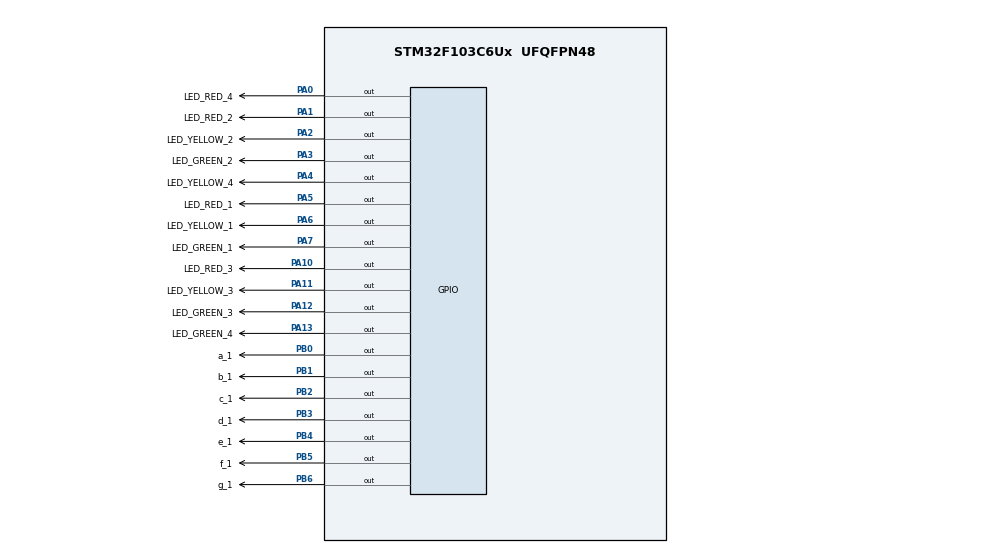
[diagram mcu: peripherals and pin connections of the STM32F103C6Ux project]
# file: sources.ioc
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Mcu.Family=STM32F1
Mcu.Name=STM32F103C6Ux
Mcu.Package=UFQFPN48
NVIC.PriorityGroup=NVIC_PRIORITYGROUP_4
PA0-WKUP.GPIO_Label=LED_RED_4
PA0-WKUP.Signal=GPIO_Output
PA1.GPIO_Label=LED_RED_2
PA1.Signal=GPIO_Output
PA10.GPIO_Label=LED_RED_3
PA10.Signal=GPIO_Output
PA11.GPIO_Label=LED_YELLOW_3
PA11.Signal=GPIO_Output
PA12.GPIO_Label=LED_GREEN_3
PA12.Signal=GPIO_Output
PA13.GPIO_Label=LED_GREEN_4
PA13.Signal=GPIO_Output
PA2.GPIO_Label=LED_YELLOW_2
PA2.Signal=GPIO_Output
PA3.GPIO_Label=LED_GREEN_2
PA3.Signal=GPIO_Output
PA4.GPIO_Label=LED_YELLOW_4
PA4.Signal=GPIO_Output
PA5.GPIO_Label=LED_RED_1
PA5.Signal=GPIO_Output
PA6.GPIO_Label=LED_YELLOW_1
PA6.Signal=GPIO_Output
PA7.GPIO_Label=LED_GREEN_1
PA7.Signal=GPIO_Output
PB0.GPIO_Label=a_1
PB0.Signal=GPIO_Output
PB1.GPIO_Label=b_1
PB1.Signal=GPIO_Output
PB2.GPIO_Label=c_1
PB2.Signal=GPIO_Output
PB3.GPIO_Label=d_1
PB3.Signal=GPIO_Output
PB4.GPIO_Label=e_1
PB4.Signal=GPIO_Output
PB5.GPIO_Label=f_1
PB5.Signal=GPIO_Output
PB6.GPIO_Label=g_1
PB6.Signal=GPIO_Output
ProjectManager.HeapSize=0x200
ProjectManager.StackSize=0x400
ProjectManager.TargetToolchain=STM32CubeIDE
RCC.APB1Freq_Value=8000000
RCC.APB2Freq_Value=8000000
VP_SYS_VS_ND.Mode=No_Debug
board=custom

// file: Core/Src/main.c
/* USER CODE BEGIN Header */
/**
  ******************************************************************************
  * @file           : main.c
  * @brief          : Main program body
  ******************************************************************************
  * @attention
  *
  * <h2><center>&copy; Copyright (c) 2022 STMicroelectronics.
  * All rights reserved.</center></h2>
  *
  * This software component is licensed by ST under BSD 3-Clause license,
  * the "License"; You may not use this file except in compliance with the
  * License. You may obtain a copy of the License at:
  *                        opensource.org/licenses/BSD-3-Clause
  *
  ******************************************************************************
  */
/* USER CODE END Header */
#include "main.h"

void SystemClock_Config(void);
static void MX_GPIO_Init(void);

/* USER CODE BEGIN 0 */
void clearAllClock();
void setNumberOnClock(int num);
void clearNumberOnClock(int num);
void test_led();
void display7SEG(int num, GPIO_TypeDef * GPIO_TYPE, uint16_t a_Pin, uint16_t b_Pin, uint16_t c_Pin, uint16_t d_Pin, uint16_t e_Pin, uint16_t f_Pin, uint16_t g_Pin);
/* USER CODE END 0 */

int main(void)
{

  /* MCU Configuration--------------------------------------------------------*/

  /* Reset of all peripherals, Initializes the Flash interface and the Systick. */
  HAL_Init();

  /* Configure the system clock */
  SystemClock_Config();

  /* Initialize all configured peripherals */
  MX_GPIO_Init();
  /* USER CODE BEGIN 2 */
  clearAllClock();
  setNumberOnClock(0);
  int current_minus = 0;
  int current_hour = 0;
  int led_need_turn_off;
  /* USER CODE END 2 */

  /* Infinite loop */
  /* USER CODE BEGIN WHILE */
  while (1)
  {
	  for (int i = 5; i >= 1; i--) {
		  display7SEG(i, GPIOB, a_1_Pin, b_1_Pin, c_1_Pin, d_1_Pin, e_1_Pin, f_1_Pin, g_1_Pin);
		  for (int j = 0; j <= 11; j++) {
			  led_need_turn_off = j - 1;
			  if (led_need_turn_off == -1) led_need_turn_off = 11;
			  if (led_need_turn_off != current_minus && led_need_turn_off != current_hour) {
				  clearNumberOnClock(led_need_turn_off);
			  }
			  setNumberOnClock(j);
			  HAL_Delay(100);
		  }
	  }
	  if (current_minus != current_hour) {
		  clearNumberOnClock(current_minus);
	  }
	  current_minus += 1;
	  if (current_minus == 12) {
		  current_minus = 0;
		  clearNumberOnClock(current_hour);
		  current_hour += 1;
		  if (current_hour == 12) {
			  current_hour = 0;
		  }
		  setNumberOnClock(current_hour);
	  }
	  setNumberOnClock(current_minus);
    /* USER CODE END WHILE */

  }
}

void SystemClock_Config(void)
{
  RCC_OscInitTypeDef RCC_OscInitStruct = {0};
  RCC_ClkInitTypeDef RCC_ClkInitStruct = {0};

  /** Initializes the RCC Oscillators according to the specified parameters
  * in the RCC_OscInitTypeDef structure.
  */
  RCC_OscInitStruct.OscillatorType = RCC_OSCILLATORTYPE_HSI;
  RCC_OscInitStruct.HSIState = RCC_HSI_ON;
  RCC_OscInitStruct.HSICalibrationValue = RCC_HSICALIBRATION_DEFAULT;
  RCC_OscInitStruct.PLL.PLLState = RCC_PLL_NONE;
  if (HAL_RCC_OscConfig(&RCC_OscInitStruct) != HAL_OK)
  {
    Error_Handler();
  }
  /** Initializes the CPU, AHB and APB buses clocks
  */
  RCC_ClkInitStruct.ClockType = RCC_CLOCKTYPE_HCLK|RCC_CLOCKTYPE_SYSCLK
                              |RCC_CLOCKTYPE_PCLK1|RCC_CLOCKTYPE_PCLK2;
  RCC_ClkInitStruct.SYSCLKSource = RCC_SYSCLKSOURCE_HSI;
  RCC_ClkInitStruct.AHBCLKDivider = RCC_SYSCLK_DIV1;
  RCC_ClkInitStruct.APB1CLKDivider = RCC_HCLK_DIV1;
  RCC_ClkInitStruct.APB2CLKDivider = RCC_HCLK_DIV1;

  if (HAL_RCC_ClockConfig(&RCC_ClkInitStruct, FLASH_LATENCY_0) != HAL_OK)
  {
    Error_Handler();
  }
}

static void MX_GPIO_Init(void)
{
  GPIO_InitTypeDef GPIO_InitStruct = {0};

  /* GPIO Ports Clock Enable */
  __HAL_RCC_GPIOA_CLK_ENABLE();
  __HAL_RCC_GPIOB_CLK_ENABLE();

  /*Configure GPIO pin Output Level */
  HAL_GPIO_WritePin(GPIOA, LED_RED_4_Pin|LED_RED_2_Pin|LED_YELLOW_2_Pin|LED_GREEN_2_Pin
                          |LED_YELLOW_4_Pin|LED_RED_1_Pin|LED_YELLOW_1_Pin|LED_GREEN_1_Pin
                          |LED_RED_3_Pin|LED_YELLOW_3_Pin|LED_GREEN_3_Pin|LED_GREEN_4_Pin, GPIO_PIN_RESET);

  /*Configure GPIO pin Output Level */
  HAL_GPIO_WritePin(GPIOB, a_1_Pin|b_1_Pin|c_1_Pin|d_1_Pin
                          |e_1_Pin|f_1_Pin|g_1_Pin, GPIO_PIN_RESET);

  /*Configure GPIO pins : LED_RED_4_Pin LED_RED_2_Pin LED_YELLOW_2_Pin LED_GREEN_2_Pin
                           LED_YELLOW_4_Pin LED_RED_1_Pin LED_YELLOW_1_Pin LED_GREEN_1_Pin
                           LED_RED_3_Pin LED_YELLOW_3_Pin LED_GREEN_3_Pin LED_GREEN_4_Pin */
  GPIO_InitStruct.Pin = LED_RED_4_Pin|LED_RED_2_Pin|LED_YELLOW_2_Pin|LED_GREEN_2_Pin
                          |LED_YELLOW_4_Pin|LED_RED_1_Pin|LED_YELLOW_1_Pin|LED_GREEN_1_Pin
                          |LED_RED_3_Pin|LED_YELLOW_3_Pin|LED_GREEN_3_Pin|LED_GREEN_4_Pin;
  GPIO_InitStruct.Mode = GPIO_MODE_OUTPUT_PP;
  GPIO_InitStruct.Pull = GPIO_NOPULL;
  GPIO_InitStruct.Speed = GPIO_SPEED_FREQ_LOW;
  HAL_GPIO_Init(GPIOA, &GPIO_InitStruct);

  /*Configure GPIO pins : a_1_Pin b_1_Pin c_1_Pin d_1_Pin
                           e_1_Pin f_1_Pin g_1_Pin */
  GPIO_InitStruct.Pin = a_1_Pin|b_1_Pin|c_1_Pin|d_1_Pin
                          |e_1_Pin|f_1_Pin|g_1_Pin;
  GPIO_InitStruct.Mode = GPIO_MODE_OUTPUT_PP;
  GPIO_InitStruct.Pull = GPIO_NOPULL;
  GPIO_InitStruct.Speed = GPIO_SPEED_FREQ_LOW;
  HAL_GPIO_Init(GPIOB, &GPIO_InitStruct);

}

/* USER CODE BEGIN 4 */
void display7SEG(int num, GPIO_TypeDef * GPIO_TYPE, uint16_t a_Pin, uint16_t b_Pin, uint16_t c_Pin, uint16_t d_Pin, uint16_t e_Pin, uint16_t f_Pin, uint16_t g_Pin) {
	switch (num){
		case 0:
			HAL_GPIO_WritePin(GPIO_TYPE, a_Pin, GPIO_PIN_RESET);
			HAL_GPIO_WritePin(GPIO_TYPE, b_Pin, GPIO_PIN_RESET);
			HAL_GPIO_WritePin(GPIO_TYPE, c_Pin, GPIO_PIN_RESET);
			HAL_GPIO_WritePin(GPIO_TYPE, d_Pin, GPIO_PIN_RESET);
			HAL_GPIO_WritePin(GPIO_TYPE, e_Pin, GPIO_PIN_RESET);
			HAL_GPIO_WritePin(GPIO_TYPE, f_Pin, GPIO_PIN_RESET);
			HAL_GPIO_WritePin(GPIO_TYPE, g_Pin, GPIO_PIN_SET);
			break;
		case 1:
			HAL_GPIO_WritePin(GPIO_TYPE, a_Pin, GPIO_PIN_SET);
			HAL_GPIO_WritePin(GPIO_TYPE, b_Pin, GPIO_PIN_RESET);
			HAL_GPIO_WritePin(GPIO_TYPE, c_Pin, GPIO_PIN_RESET);
			HAL_GPIO_WritePin(GPIO_TYPE, d_Pin, GPIO_PIN_SET);
			HAL_GPIO_WritePin(GPIO_TYPE, e_Pin, GPIO_PIN_SET);
			HAL_GPIO_WritePin(GPIO_TYPE, f_Pin, GPIO_PIN_SET);
			HAL_GPIO_WritePin(GPIO_TYPE, g_Pin, GPIO_PIN_SET);
			break;
		case 2:
			HAL_GPIO_WritePin(GPIO_TYPE, a_Pin, GPIO_PIN_RESET);
			HAL_GPIO_WritePin(GPIO_TYPE, b_Pin, GPIO_PIN_RESET);
			HAL_GPIO_WritePin(GPIO_TYPE, c_Pin, GPIO_PIN_SET);
			HAL_GPIO_WritePin(GPIO_TYPE, d_Pin, GPIO_PIN_RESET);
			HAL_GPIO_WritePin(GPIO_TYPE, e_Pin, GPIO_PIN_RESET);
			HAL_GPIO_WritePin(GPIO_TYPE, f_Pin, GPIO_PIN_SET);
			HAL_GPIO_WritePin(GPIO_TYPE, g_Pin, GPIO_PIN_RESET);
			break;
		case 3:
			HAL_GPIO_WritePin(GPIO_TYPE, a_Pin, GPIO_PIN_RESET);
			HAL_GPIO_WritePin(GPIO_TYPE, b_Pin, GPIO_PIN_RESET);
			HAL_GPIO_WritePin(GPIO_TYPE, c_Pin, GPIO_PIN_RESET);
			HAL_GPIO_WritePin(GPIO_TYPE, d_Pin, GPIO_PIN_RESET);
			HAL_GPIO_WritePin(GPIO_TYPE, e_Pin, GPIO_PIN_SET);
			HAL_GPIO_WritePin(GPIO_TYPE, f_Pin, GPIO_PIN_SET);
			HAL_GPIO_WritePin(GPIO_TYPE, g_Pin, GPIO_PIN_RESET);
			break;
		case 4:
			HAL_GPIO_WritePin(GPIO_TYPE, a_Pin, GPIO_PIN_SET);
			HAL_GPIO_WritePin(GPIO_TYPE, b_Pin, GPIO_PIN_RESET);
			HAL_GPIO_WritePin(GPIO_TYPE, c_Pin, GPIO_PIN_RESET);
			HAL_GPIO_WritePin(GPIO_TYPE, d_Pin, GPIO_PIN_SET);
			HAL_GPIO_WritePin(GPIO_TYPE, e_Pin, GPIO_PIN_SET);
			HAL_GPIO_WritePin(GPIO_TYPE, f_Pin, GPIO_PIN_RESET);
			HAL_GPIO_WritePin(GPIO_TYPE, g_Pin, GPIO_PIN_RESET);
			break;
		case 5:
			HAL_GPIO_WritePin(GPIO_TYPE, a_Pin, GPIO_PIN_RESET);
			HAL_GPIO_WritePin(GPIO_TYPE, b_Pin, GPIO_PIN_SET);
			HAL_GPIO_WritePin(GPIO_TYPE, c_Pin, GPIO_PIN_RESET);
			HAL_GPIO_WritePin(GPIO_TYPE, d_Pin, GPIO_PIN_RESET);
			HAL_GPIO_WritePin(GPIO_TYPE, e_Pin, GPIO_PIN_SET);
			HAL_GPIO_WritePin(GPIO_TYPE, f_Pin, GPIO_PIN_RESET);
			HAL_GPIO_WritePin(GPIO_TYPE, g_Pin, GPIO_PIN_RESET);
			break;
		case 6:
			HAL_GPIO_WritePin(GPIO_TYPE, a_Pin, GPIO_PIN_RESET);
			HAL_GPIO_WritePin(GPIO_TYPE, b_Pin, GPIO_PIN_SET);
			HAL_GPIO_WritePin(GPIO_TYPE, c_Pin, GPIO_PIN_RESET);
			HAL_GPIO_WritePin(GPIO_TYPE, d_Pin, GPIO_PIN_RESET);
			HAL_GPIO_WritePin(GPIO_TYPE, e_Pin, GPIO_PIN_RESET);
			HAL_GPIO_WritePin(GPIO_TYPE, f_Pin, GPIO_PIN_RESET);
			HAL_GPIO_WritePin(GPIO_TYPE, g_Pin, GPIO_PIN_RESET);
			break;
		case 7:
			HAL_GPIO_WritePin(GPIO_TYPE, a_Pin, GPIO_PIN_RESET);
			HAL_GPIO_WritePin(GPIO_TYPE, b_Pin, GPIO_PIN_RESET);
			HAL_GPIO_WritePin(GPIO_TYPE, c_Pin, GPIO_PIN_RESET);
			HAL_GPIO_WritePin(GPIO_TYPE, d_Pin, GPIO_PIN_SET);
			HAL_GPIO_WritePin(GPIO_TYPE, e_Pin, GPIO_PIN_SET);
			HAL_GPIO_WritePin(GPIO_TYPE, f_Pin, GPIO_PIN_SET);
			HAL_GPIO_WritePin(GPIO_TYPE, g_Pin, GPIO_PIN_SET);
			break;
		case 8:
			HAL_GPIO_WritePin(GPIO_TYPE, a_Pin, GPIO_PIN_RESET);
			HAL_GPIO_WritePin(GPIO_TYPE, b_Pin, GPIO_PIN_RESET);
			HAL_GPIO_WritePin(GPIO_TYPE, c_Pin, GPIO_PIN_RESET);
			HAL_GPIO_WritePin(GPIO_TYPE, d_Pin, GPIO_PIN_RESET);
			HAL_GPIO_WritePin(GPIO_TYPE, e_Pin, GPIO_PIN_RESET);
			HAL_GPIO_WritePin(GPIO_TYPE, f_Pin, GPIO_PIN_RESET);
			HAL_GPIO_WritePin(GPIO_TYPE, g_Pin, GPIO_PIN_RESET);
			break;
		case 9:
			HAL_GPIO_WritePin(GPIO_TYPE, a_Pin, GPIO_PIN_RESET);
			HAL_GPIO_WritePin(GPIO_TYPE, b_Pin, GPIO_PIN_RESET);
			HAL_GPIO_WritePin(GPIO_TYPE, c_Pin, GPIO_PIN_RESET);
			HAL_GPIO_WritePin(GPIO_TYPE, d_Pin, GPIO_PIN_RESET);
			HAL_GPIO_WritePin(GPIO_TYPE, e_Pin, GPIO_PIN_SET);
			HAL_GPIO_WritePin(GPIO_TYPE, f_Pin, GPIO_PIN_RESET);
			HAL_GPIO_WritePin(GPIO_TYPE, g_Pin, GPIO_PIN_RESET);
			break;
		default:
			break;
	}
}
void test_led() {
	HAL_GPIO_WritePin(GPIOA, LED_YELLOW_4_Pin, GPIO_PIN_RESET);
	HAL_Delay(1000);
	HAL_GPIO_WritePin(GPIOA, LED_GREEN_4_Pin, GPIO_PIN_RESET);
	HAL_Delay(1000);
	HAL_GPIO_WritePin(GPIOA, LED_RED_3_Pin, GPIO_PIN_RESET);
	HAL_Delay(1000);
	HAL_GPIO_WritePin(GPIOA, LED_YELLOW_3_Pin, GPIO_PIN_RESET);
	HAL_Delay(1000);
	HAL_GPIO_WritePin(GPIOA, LED_GREEN_3_Pin, GPIO_PIN_RESET);
	HAL_Delay(1000);
	HAL_GPIO_WritePin(GPIOA, LED_RED_2_Pin, GPIO_PIN_RESET);
	HAL_Delay(1000);
	HAL_GPIO_WritePin(GPIOA, LED_YELLOW_2_Pin, GPIO_PIN_RESET);
	HAL_Delay(1000);
	HAL_GPIO_WritePin(GPIOA, LED_GREEN_2_Pin, GPIO_PIN_RESET);
	HAL_Delay(1000);
	HAL_GPIO_WritePin(GPIOA, LED_RED_1_Pin, GPIO_PIN_RESET);
	HAL_Delay(1000);
	HAL_GPIO_WritePin(GPIOA, LED_YELLOW_1_Pin, GPIO_PIN_RESET);
	HAL_Delay(1000);
	HAL_GPIO_WritePin(GPIOA, LED_GREEN_1_Pin, GPIO_PIN_RESET);
	HAL_Delay(1000);
	HAL_GPIO_WritePin(GPIOA, LED_RED_4_Pin, GPIO_PIN_RESET);
}
void clearAllClock() {
 // TODO
	HAL_GPIO_WritePin(GPIOA, LED_YELLOW_4_Pin, GPIO_PIN_SET);
	HAL_GPIO_WritePin(GPIOA, LED_GREEN_4_Pin, GPIO_PIN_SET);
	HAL_GPIO_WritePin(GPIOA, LED_RED_3_Pin, GPIO_PIN_SET);
	HAL_GPIO_WritePin(GPIOA, LED_YELLOW_3_Pin, GPIO_PIN_SET);
	HAL_GPIO_WritePin(GPIOA, LED_GREEN_3_Pin, GPIO_PIN_SET);
	HAL_GPIO_WritePin(GPIOA, LED_RED_2_Pin, GPIO_PIN_SET);
	HAL_GPIO_WritePin(GPIOA, LED_YELLOW_2_Pin, GPIO_PIN_SET);
	HAL_GPIO_WritePin(GPIOA, LED_GREEN_2_Pin, GPIO_PIN_SET);
	HAL_GPIO_WritePin(GPIOA, LED_RED_1_Pin, GPIO_PIN_SET);
	HAL_GPIO_WritePin(GPIOA, LED_YELLOW_1_Pin, GPIO_PIN_SET);
	HAL_GPIO_WritePin(GPIOA, LED_GREEN_1_Pin, GPIO_PIN_SET);
	HAL_GPIO_WritePin(GPIOA, LED_RED_4_Pin, GPIO_PIN_SET);
}
void setNumberOnClock(int num) {
	switch(num) {
	case 0:
		HAL_GPIO_WritePin(GPIOA, LED_YELLOW_4_Pin, GPIO_PIN_RESET);
		break;
	case 1:
		HAL_GPIO_WritePin(GPIOA, LED_GREEN_4_Pin, GPIO_PIN_RESET);
		break;
	case 2:
		HAL_GPIO_WritePin(GPIOA, LED_RED_3_Pin, GPIO_PIN_RESET);
		break;
	case 3:
		HAL_GPIO_WritePin(GPIOA, LED_YELLOW_3_Pin, GPIO_PIN_RESET);
		break;
	case 4:
		HAL_GPIO_WritePin(GPIOA, LED_GREEN_3_Pin, GPIO_PIN_RESET);
		break;
	case 5:
		HAL_GPIO_WritePin(GPIOA, LED_RED_2_Pin, GPIO_PIN_RESET);
		break;
	case 6:
		HAL_GPIO_WritePin(GPIOA, LED_YELLOW_2_Pin, GPIO_PIN_RESET);
		break;
	case 7:
		HAL_GPIO_WritePin(GPIOA, LED_GREEN_2_Pin, GPIO_PIN_RESET);
		break;
	case 8:
		HAL_GPIO_WritePin(GPIOA, LED_RED_1_Pin, GPIO_PIN_RESET);
		break;
	case 9:
		HAL_GPIO_WritePin(GPIOA, LED_YELLOW_1_Pin, GPIO_PIN_RESET);
		break;
	case 10:
		HAL_GPIO_WritePin(GPIOA, LED_GREEN_1_Pin, GPIO_PIN_RESET);
		break;
	case 11:
		HAL_GPIO_WritePin(GPIOA, LED_RED_4_Pin, GPIO_PIN_RESET);
		break;
	default:
		break;
	}
}
void clearNumberOnClock(int num) {
	switch(num) {
	case 0:
		HAL_GPIO_WritePin(GPIOA, LED_YELLOW_4_Pin, GPIO_PIN_SET);
		break;
	case 1:
		HAL_GPIO_WritePin(GPIOA, LED_GREEN_4_Pin, GPIO_PIN_SET);
		break;
	case 2:
		HAL_GPIO_WritePin(GPIOA, LED_RED_3_Pin, GPIO_PIN_SET);
		break;
	case 3:
		HAL_GPIO_WritePin(GPIOA, LED_YELLOW_3_Pin, GPIO_PIN_SET);
		break;
	case 4:
		HAL_GPIO_WritePin(GPIOA, LED_GREEN_3_Pin, GPIO_PIN_SET);
		break;
	case 5:
		HAL_GPIO_WritePin(GPIOA, LED_RED_2_Pin, GPIO_PIN_SET);
		break;
	case 6:
		HAL_GPIO_WritePin(GPIOA, LED_YELLOW_2_Pin, GPIO_PIN_SET);
		break;
	case 7:
		HAL_GPIO_WritePin(GPIOA, LED_GREEN_2_Pin, GPIO_PIN_SET);
		break;
	case 8:
		HAL_GPIO_WritePin(GPIOA, LED_RED_1_Pin, GPIO_PIN_SET);
		break;
	case 9:
		HAL_GPIO_WritePin(GPIOA, LED_YELLOW_1_Pin, GPIO_PIN_SET);
		break;
	case 10:
		HAL_GPIO_WritePin(GPIOA, LED_GREEN_1_Pin, GPIO_PIN_SET);
		break;
	case 11:
		HAL_GPIO_WritePin(GPIOA, LED_RED_4_Pin, GPIO_PIN_SET);
		break;
	default:
		break;
	}
}
/* USER CODE END 4 */

void Error_Handler(void)
{
  __disable_irq();
  while (1)
  {
  }
}

/************************ (C) COPYRIGHT STMicroelectronics *****END OF FILE****/
